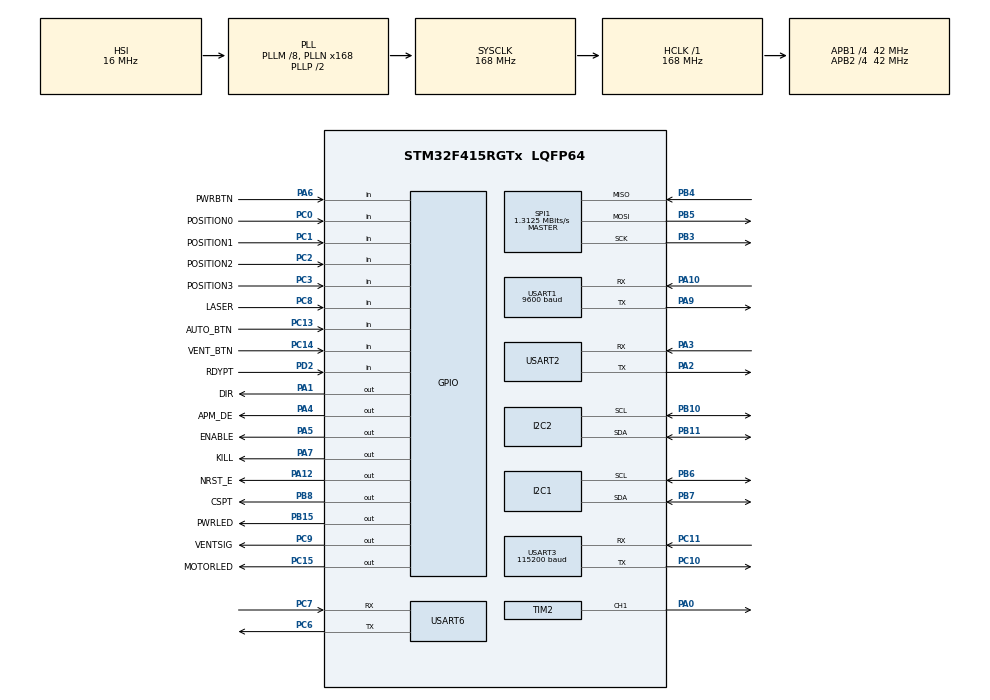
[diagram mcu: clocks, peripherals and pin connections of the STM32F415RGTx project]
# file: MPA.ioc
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ADC1.Channel-0\#ChannelRegularConversion=ADC_CHANNEL_TEMPSENSOR
ADC1.ContinuousConvMode=ENABLE
ADC1.DMAContinuousRequests=DISABLE
ADC1.EOCSelection=ADC_EOC_SEQ_CONV
ADC1.NbrOfConversion=1
ADC1.NbrOfConversionFlag=1
ADC1.Rank-0\#ChannelRegularConversion=1
ADC1.SamplingTime-0\#ChannelRegularConversion=ADC_SAMPLETIME_480CYCLES
ADC1.ScanConvMode=ENABLE
ADC1.master=1
I2C1.I2C_Mode=I2C_Fast
Mcu.Family=STM32F4
Mcu.Name=STM32F415RGTx
Mcu.Package=LQFP64
NVIC.ADC_IRQn=true\:0\:0\:false\:false\:true\:true\:true
NVIC.I2C2_EV_IRQn=true\:0\:0\:false\:false\:true\:true\:true
NVIC.PriorityGroup=NVIC_PRIORITYGROUP_4
NVIC.USART1_IRQn=true\:0\:0\:false\:false\:true\:true\:true
NVIC.USART3_IRQn=true\:0\:0\:false\:false\:true\:true\:true
PA0-WKUP.Signal=S_TIM2_CH1_ETR
PA1.GPIO_Label=DIR
PA1.Signal=GPIO_Output
PA10.Mode=Asynchronous
PA10.Signal=USART1_RX
PA12.GPIO_Label=NRST_E
PA12.Signal=GPIO_Output
PA13.Mode=Serial_Wire
PA13.Signal=SYS_JTMS-SWDIO
PA14.Mode=Serial_Wire
PA14.Signal=SYS_JTCK-SWCLK
PA2.Mode=Asynchronous
PA2.Signal=USART2_TX
PA3.Mode=Asynchronous
PA3.Signal=USART2_RX
PA4.GPIO_Label=APM_DE
PA4.Signal=GPIO_Output
PA5.GPIO_Label=ENABLE
PA5.Signal=GPIO_Output
PA6.GPIO_Label=PWRBTN
PA6.GPIO_PuPd=GPIO_PULLUP
PA6.Signal=GPIO_Input
PA7.GPIO_Label=KILL
PA7.Signal=GPIO_Output
PA9.Mode=Asynchronous
PA9.Signal=USART1_TX
PB10.Mode=I2C
PB10.Signal=I2C2_SCL
PB11.Mode=I2C
PB11.Signal=I2C2_SDA
PB15.GPIO_Label=PWRLED
PB15.Signal=GPIO_Output
PB3.Mode=Full_Duplex_Master
PB3.Signal=SPI1_SCK
PB4.Mode=Full_Duplex_Master
PB4.Signal=SPI1_MISO
PB5.Mode=Full_Duplex_Master
PB5.Signal=SPI1_MOSI
PB6.Mode=I2C
PB6.Signal=I2C1_SCL
PB7.Mode=I2C
PB7.Signal=I2C1_SDA
PB8.GPIO_Label=CSPT
PB8.Signal=GPIO_Output
PC0.GPIO_Label=POSITION0
PC0.Signal=GPIO_Input
PC1.GPIO_Label=POSITION1
PC1.Signal=GPIO_Input
PC10.Mode=Asynchronous
PC10.Signal=USART3_TX
PC11.Mode=Asynchronous
PC11.Signal=USART3_RX
PC13-ANTI_TAMP.GPIO_Label=AUTO_BTN
PC13-ANTI_TAMP.Signal=GPIO_Input
PC14-OSC32_IN.GPIO_Label=VENT_BTN
PC14-OSC32_IN.Signal=GPIO_Input
PC15-OSC32_OUT.GPIO_Label=MOTORLED
PC15-OSC32_OUT.Signal=GPIO_Output
PC2.GPIO_Label=POSITION2
PC2.Signal=GPIO_Input
PC3.GPIO_Label=POSITION3
PC3.Signal=GPIO_Input
PC6.Mode=Asynchronous
PC6.Signal=USART6_TX
PC7.Mode=Asynchronous
PC7.Signal=USART6_RX
PC8.GPIO_Label=LASER
PC8.Signal=GPIO_Input
PC9.GPIO_Label=VENTSIG
PC9.PinState=GPIO_PIN_SET
PC9.Signal=GPIO_Output
PD2.GPIO_Label=RDYPT
PD2.Signal=GPIO_Input
ProjectManager.HeapSize=0x200
ProjectManager.StackSize=0x400
ProjectManager.TargetToolchain=MDK-ARM V5.32
RCC.48MHZClocksFreq_Value=48000000
RCC.AHBFreq_Value=168000000
RCC.APB1CLKDivider=RCC_HCLK_DIV4
RCC.APB1Freq_Value=42000000
RCC.APB1TimFreq_Value=84000000
RCC.APB2CLKDivider=RCC_HCLK_DIV4
RCC.APB2Freq_Value=42000000
RCC.APB2TimFreq_Value=84000000
RCC.CortexFreq_Value=168000000
RCC.HCLKFreq_Value=168000000
RCC.HSE_VALUE=8000000
RCC.HSI_VALUE=16000000
RCC.LSE_VALUE=32768
RCC.PLLM=8
RCC.PLLN=168
RCC.PLLQ=7
RCC.SYSCLKFreq_VALUE=168000000
RCC.SYSCLKSource=RCC_SYSCLKSOURCE_PLLCLK
RCC.VCOOutputFreq_Value=336000000
SH.S_TIM2_CH1_ETR.0=TIM2_CH1,Output Compare1 CH1
SPI1.BaudRatePrescaler=SPI_BAUDRATEPRESCALER_32
SPI1.CLKPhase=SPI_PHASE_2EDGE
SPI1.CalculateBaudRate=1.3125 MBits/s
SPI1.Direction=SPI_DIRECTION_2LINES
SPI1.Mode=SPI_MODE_MASTER
SPI1.VirtualType=VM_MASTER
TIM2.AutoReloadPreload=TIM_AUTORELOAD_PRELOAD_ENABLE
TIM2.Channel-Output\ Compare1\ CH1=TIM_CHANNEL_1
TIM2.OC1Preload=ENABLE
TIM2.OCMode_1=TIM_OCMODE_TOGGLE
TIM2.Period=2072026
USART1.BaudRate=9600
USART1.VirtualMode=VM_ASYNC
USART2.VirtualMode=VM_ASYNC
USART3.BaudRate=115200
USART3.VirtualMode=VM_ASYNC
USART6.VirtualMode=VM_ASYNC
VP_ADC1_TempSens_Input.Mode=IN-TempSens
board=custom

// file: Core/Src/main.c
/* USER CODE BEGIN Header */
/**
  ******************************************************************************
  * @file           : main.c
  * @brief          : Main program body
  ******************************************************************************
  * @attention
  *
  * Copyright (c) 2026 STMicroelectronics.
  * All rights reserved.
  *
  * This software is licensed under terms that can be found in the LICENSE file
  * in the root directory of this software component.
  * If no LICENSE file comes with this software, it is provided AS-IS.
  *
  ******************************************************************************
  */
/* USER CODE END Header */
#include "main.h"
#include "adc.h"
#include "i2c.h"
#include "spi.h"
#include "tim.h"
#include "usart.h"
#include "gpio.h"

/* USER CODE BEGIN Includes */
#include "stdint.h"
#include "string.h"
#include "ads1220.h"
#include "math.h"
/* USER CODE END Includes */

/* USER CODE BEGIN PTD */
#define PASCAL_SIZE 500
#define DEFAULT_VAC 13.6515045f
typedef enum
{
    unit_mbar = 0,
    unit_Torr = 1,
    unit_Pa = 2
}unit_t;

typedef struct
{
    uint8_t OK;
    uint8_t Status;
    uint8_t Ready;
    float Pressure;
    float PascalPressure;
    float PascalPressureFiltered;
    uint16_t Raw;
    float FactorA;
    float FactorB;
    float FSR_Mantissa;
    float FSR_Exp;
    unit_t Unit;
    uint64_t TimeStamp;
    float Pascals[PASCAL_SIZE];
    float PascalSum;
    uint16_t PascalIdx;
    uint32_t Errors;
}inficon_t;
/* USER CODE END PTD */

/* USER CODE BEGIN PD */
#define FWREV 1.01f

#define INFICON_UART huart1
#define PC_UART huart3
#define I2C420 hi2c2
#define LASER_UART huart6

#define LED_ON 30
#define LED_TICK 300

#define SOF 0x3B
#define PC_RX_BUF_SIZE 256
#define COMMAND_LENGTH 14

#define RPM_MIN 20
#define RPM_MAX 80

#define PROBE_420 100.0f
#define REF_420 2.048f
#define INTERVAL_420 150

/* USER CODE END PD */

/* USER CODE BEGIN PV */
volatile uint64_t uptime = 0;
uint64_t LedNextUpdate = 500;
uint64_t MotorNextProcess = 1000;
uint64_t Next420Check = 500;

int16_t StatusRegister = 1;

uint8_t LedState = 0; //0 - blinking OFF, 1 - blinking ON, 2 - constant ON

uint8_t PowerOffAllowed = 0;

uint8_t PC_RX_BUF[PC_RX_BUF_SIZE];
uint8_t command_buf[COMMAND_LENGTH]; //for parser
int8_t PC_RX_flag = 0;
uint64_t LastPacketReceived;
uint32_t PC_TimeOut = 10;
uint32_t ErrCounter = 0;

//inficon
uint8_t INFICONRXBUF[50];
volatile uint8_t InficonRX = 0;
inficon_t I;
uint64_t InficonLastGoodPacket = 0;

//4-20
uint8_t DataReady420 = 0;
float I420 = 0;
uint8_t ADS1110addr = 0x48;
uint8_t ADS1110buffer[2];
uint8_t Status420 = 0;
uint64_t ADS1110LastGoodPacket = 0;

//motor
uint8_t RunButtonState = 2;
uint64_t LastRunButtonStateChanged;
uint8_t ButtonStateChanged = 0;
int8_t DefaultSpeedSetPoint = 30; //rpm, default 30
int8_t SpeedSetPoint = 0;
int8_t NewSpeedSetPoint = 0;
uint8_t DefaultAccTime = 10; //default 10
uint8_t AccTime = 10;
float RawCurrentSpeed = 0;
float PerMillisecond = 0;

//vent
uint16_t Venting = 0;
uint64_t VentNextSecond;
uint8_t VentBtn;
//inputs
uint8_t Input1, Input2, Input3, Input4;

//pt1000
ADC_ADS1220 hadc;
uint64_t Delay;
uint8_t RDYPin = 1, PrevRDYPin = 1;
float Pt1000Temp;

/* USER CODE END PV */

void SystemClock_Config(void);
/* USER CODE BEGIN PFP */
uint64_t GetUpTime(void);
void ParseInficon(uint8_t*, inficon_t*, uint8_t full);
void CommandExecute(void);
/* USER CODE END PFP */

int main(void)
{

  /* MCU Configuration--------------------------------------------------------*/

  /* Reset of all peripherals, Initializes the Flash interface and the Systick. */
  HAL_Init();

  /* Configure the system clock */
  SystemClock_Config();

  /* Initialize all configured peripherals */
  MX_GPIO_Init();
  MX_TIM2_Init();
  MX_USART3_UART_Init();
  MX_I2C1_Init();
  MX_ADC1_Init();
  MX_I2C2_Init();
  MX_SPI1_Init();
  MX_USART1_UART_Init();
  MX_USART6_UART_Init();
  MX_USART2_UART_Init();

  /* Infinite loop */
  /* USER CODE BEGIN WHILE */

  I.OK = 0;
  I.TimeStamp = 0;
  I.PascalSum = DEFAULT_VAC * PASCAL_SIZE;
  for(uint16_t i = 0; i < PASCAL_SIZE; i++)
  {
      I.Pascals[i] = DEFAULT_VAC;
  }
  I.PascalIdx = 0;
  I.Errors = 0;
  HAL_UARTEx_ReceiveToIdle_IT(&INFICON_UART, INFICONRXBUF, sizeof INFICONRXBUF);

  HAL_GPIO_WritePin(DIR_GPIO_Port, DIR_Pin, GPIO_PIN_RESET);
  HAL_GPIO_WritePin(ENABLE_GPIO_Port, ENABLE_Pin, GPIO_PIN_SET);
  HAL_TIM_OC_Start(&htim2, TIM_CHANNEL_1);

//
    hadc.InterfaceHandle = &hspi1;
    hadc.CSPort = CSPT_GPIO_Port;
    hadc.CSPin = CSPT_Pin;
    hadc.RDYPort = RDYPT_GPIO_Port;
    hadc.RDYPin = RDYPT_Pin;
    hadc.NextCalibration = 2000;
    hadc.ADC_STATE = stADCDisable;

  while (1)
  {
      if(Venting)
      {
          HAL_GPIO_WritePin(VENTSIG_GPIO_Port, VENTSIG_Pin, GPIO_PIN_RESET);
          if(GetUpTime() >= VentNextSecond)
          {
              VentNextSecond = GetUpTime() + 1000;
              Venting--;
          }
      }else{
          HAL_GPIO_WritePin(VENTSIG_GPIO_Port, VENTSIG_Pin, GPIO_PIN_SET);
      }

// MOTOR
      uint8_t NewRunButtonState = HAL_GPIO_ReadPin(AUTO_BTN_GPIO_Port, AUTO_BTN_Pin);
      if(NewRunButtonState != RunButtonState)
      {
          LastRunButtonStateChanged = GetUpTime();
          ButtonStateChanged = 1;
      }else{
          if(GetUpTime() > LastRunButtonStateChanged + 200)
          {
              if(ButtonStateChanged)
              {
                  ButtonStateChanged = 0;
                  if(RunButtonState)
                  {
                      NewSpeedSetPoint = DefaultSpeedSetPoint;
                      AccTime = DefaultAccTime;
                  }else{
                  }
              }
          }
      }
      RunButtonState = NewRunButtonState;
      if(GetUpTime() >= MotorNextProcess)
      {
          MotorNextProcess += 4;

          if(NewSpeedSetPoint != SpeedSetPoint)
          {
              SpeedSetPoint = NewSpeedSetPoint;
              PerMillisecond = 4.0f * (SpeedSetPoint - RawCurrentSpeed) / (AccTime * 1000);
          }

          RawCurrentSpeed += PerMillisecond;
          if(PerMillisecond > 0)
          {
              if(RawCurrentSpeed > SpeedSetPoint)
              {
                  RawCurrentSpeed = SpeedSetPoint;
                  PerMillisecond = 0;
              }
          }else{
              if(RawCurrentSpeed < SpeedSetPoint)
              {
                  RawCurrentSpeed = SpeedSetPoint;
                  PerMillisecond = 0;
              }
          }
          if(fabsf(RawCurrentSpeed) < 0.2f)
          {
              HAL_GPIO_WritePin(ENABLE_GPIO_Port, ENABLE_Pin, GPIO_PIN_SET);
          }else{
              HAL_GPIO_WritePin(ENABLE_GPIO_Port, ENABLE_Pin, GPIO_PIN_RESET);
          }
          uint32_t arr = 84000000. * 60 / (2 * fabsf(RawCurrentSpeed)  * 6400 * 1.9f) - 1;
          if(arr > 2072026)
          {
              arr = 2072026;
          }
          __HAL_TIM_SET_AUTORELOAD(&htim2, arr);
      }

      if((SpeedSetPoint != 0) && (fabsf(RawCurrentSpeed - SpeedSetPoint) < 1))
      {
          HAL_GPIO_WritePin(MOTORLED_GPIO_Port, MOTORLED_Pin, GPIO_PIN_SET);
      }else{
          HAL_GPIO_WritePin(MOTORLED_GPIO_Port, MOTORLED_Pin, GPIO_PIN_RESET);
      }
// end MOTOR

      if(HAL_GPIO_ReadPin(POSITION0_GPIO_Port, POSITION0_Pin))
      {
          Input1 = 0;
      }else{
          Input1 = 1;
      }
      if(HAL_GPIO_ReadPin(POSITION1_GPIO_Port, POSITION1_Pin))
      {
          Input2 = 0;
      }else{
          Input2 = 1;
      }
      if(HAL_GPIO_ReadPin(POSITION2_GPIO_Port, POSITION2_Pin))
      {
          Input3 = 0;
      }else{
          Input3 = 1;
      }
      if(HAL_GPIO_ReadPin(POSITION3_GPIO_Port, POSITION3_Pin))
      {
          Input4 = 0;
      }else{
          Input4 = 1;
      }

      if(!HAL_GPIO_ReadPin(PWRBTN_GPIO_Port, PWRBTN_Pin))
      {
          StatusRegister |= 0x02;
      }
      if(HAL_GPIO_ReadPin(VENT_BTN_GPIO_Port, VENT_BTN_Pin))
      {
          StatusRegister |= 0x04;
      }
      if(RunButtonState)
      {
          StatusRegister |= 0x08;
      }else{
          StatusRegister &= ~0x08;
      }
    /* USER CODE END WHILE */

    /* USER CODE BEGIN 3 */

      if(GetUpTime() >= Next420Check)
      {
          if(GetUpTime() >= ADS1110LastGoodPacket + 2000)
          {
              Status420 = 0;
              Next420Check = GetUpTime() + 1000;
              uint8_t GeneralCallAddress = 0;
              uint8_t ResetCmd = 0x06;
              HAL_I2C_Master_Transmit(&hi2c1, GeneralCallAddress, &ResetCmd, 1, 20);
          }else{
              Next420Check = GetUpTime() + INTERVAL_420;
              HAL_I2C_Master_Receive_IT(&hi2c2, ADS1110addr << 1, ADS1110buffer, 2);
          }
      }
      if(DataReady420)
      {
          DataReady420 = 0;
          Status420 = 1;
          int16_t raw_value = (int16_t)((ADS1110buffer[0] << 8) | ADS1110buffer[1]);
          int16_t fs = 0x7fff;
          float volt = (REF_420 / fs) * raw_value;
          I420 = 1000 * volt / PROBE_420; //mA
          ADS1110LastGoodPacket = GetUpTime();
      }

      if((InficonRX == 9) && (INFICONRXBUF[0] == 7))
      {
          InficonRX = 0;
          uint8_t CheckSum = 0;
          for(uint8_t i = 1; i <= 7; i++)
          {
              CheckSum += INFICONRXBUF[i];
          }
          if(CheckSum == INFICONRXBUF[8])
          {
              I.OK = 1;
              I.TimeStamp = GetUpTime();
              ParseInficon(INFICONRXBUF, &I, 1);
          }else{
              I.Errors++;
          }
      }else{
          InficonRX = 0;
          if((I.Errors > 500) || (GetUpTime() > I.TimeStamp + 2000))
          {
              I.OK = 0;
          }
      }

      if(GetUpTime() >= LedNextUpdate)
      {
          LedNextUpdate += LED_TICK;

          switch(LedState)
          {
              case 0: //blinking, OFF
              {
                  HAL_GPIO_WritePin(PWRLED_GPIO_Port, PWRLED_Pin, GPIO_PIN_SET);
                  LedState = 1;
                  break;
              }
              case 1: //blinking, ON
              {
                  HAL_GPIO_WritePin(PWRLED_GPIO_Port, PWRLED_Pin, GPIO_PIN_RESET);
                  LedState = 0;
                  break;
              }
              case 2: //set constant ON
              {
                  HAL_GPIO_WritePin(PWRLED_GPIO_Port, PWRLED_Pin, GPIO_PIN_SET);
                  LedState = 3;
                  break;
              }
              case 3: // constant ON
              {
                  break;
              }
          }
      }

      if(PC_TimeOut > 10)
      {
          if(LedState == 3)
          {
              LedState = 0;
          }
      }

      uint64_t tempTick = GetUpTime();
      if(PC_RX_flag)
      {
          if((PC_RX_flag == COMMAND_LENGTH) && (PC_RX_BUF[0] == SOF))
          {
              LastPacketReceived = tempTick;
              PC_TimeOut = 0;
              LedState = 2;

              for(uint8_t i = 0; i < PC_RX_flag; i++)
              {
                  command_buf[i] = PC_RX_BUF[i];
              }
              CommandExecute();
          }else{
              ErrCounter++;
          }
          HAL_UART_AbortReceive_IT(&PC_UART);
          while(HAL_UARTEx_ReceiveToIdle_IT(&PC_UART, PC_RX_BUF, PC_RX_BUF_SIZE) != HAL_OK);
          __HAL_UART_DISABLE_IT(&PC_UART, UART_IT_ERR);
          PC_RX_flag = 0;
      }else{
          if(tempTick > LastPacketReceived + 200)
          {
              LastPacketReceived = tempTick;
              PC_TimeOut ++;
              HAL_UART_AbortReceive_IT(&PC_UART);
              while(HAL_UARTEx_ReceiveToIdle_IT(&PC_UART, PC_RX_BUF, PC_RX_BUF_SIZE) != HAL_OK);
              __HAL_UART_DISABLE_IT(&PC_UART, UART_IT_ERR);

              if(PowerOffAllowed)
              {
                  if(PC_TimeOut > 100)
                  {
                      HAL_GPIO_WritePin(KILL_GPIO_Port, KILL_Pin, GPIO_PIN_SET);
                  }
              }
          }
      }

      switch(hadc.ADC_STATE)
      {
          case stADCDisable:
          {

              hadc.TXbuf[0] = ADS1220_CMD_RESET;
              HAL_GPIO_WritePin(hadc.CSPort, hadc.CSPin, GPIO_PIN_RESET);
              while(HAL_SPI_Transmit(hadc.InterfaceHandle, hadc.TXbuf, 1, 2) == HAL_BUSY);
              HAL_GPIO_WritePin(hadc.CSPort, hadc.CSPin, GPIO_PIN_SET);
              Delay = GetUpTime() + 2;
              hadc.ADC_STATE = stADCResetting;
              break;
          }
          case stADCResetting:
          {
              if(GetUpTime() >= Delay)
              {
                  hadc.REGISTERS[0] = 0x00;
                  hadc.REGISTERS[1] = 0x00;
                  hadc.REGISTERS[2] = 0x00; // По даташиту дефолт 0x00 (ток выкл)
                  hadc.REGISTERS[3] = 0x00; // По даташиту дефолт 0x00 (выводы выкл)
                  hadc.ADC_STATE = stADCMainConfig;
                  //hadc[adc].NextTemperatureCheck = GetUpTime()+ ADC_INTERNAL_TEMP_CHECK_INTERVAL;
                  hadc.NewDataAvailable = 0;
              }
              break;
          }
            case stADCMainConfig: // Настройка глобальных параметров (Регистры 1, 2, 3)
            {
                // 1. Скорость 20 SPS и режим Normal (вместо Turbo, чтобы работал FIR фильтр помех)
                hadc.REGISTERS[ADS1220_DR_REG_I] &= ~ADS1220_DR_MASK;
                hadc.REGISTERS[ADS1220_DR_REG_I] |= ADS1220_DR_20; // data rate 20 SPS
                hadc.REGISTERS[ADS1220_MODE_REG_I] &= ~ADS1220_MODE_MASK;
                hadc.REGISTERS[ADS1220_MODE_REG_I] |= ADS1220_MODE_NORM; // Режим Normal

                hadc.TXbuf[0] = ADS1220_CMD_WREG | ADS1220_DR_REG;
                hadc.TXbuf[1] = hadc.REGISTERS[ADS1220_DR_REG_I];
                HAL_GPIO_WritePin(hadc.CSPort, hadc.CSPin, GPIO_PIN_RESET);
                while(HAL_SPI_Transmit(hadc.InterfaceHandle, hadc.TXbuf, 2, 2) == HAL_BUSY);
                HAL_GPIO_WritePin(hadc.CSPort, hadc.CSPin, GPIO_PIN_SET);

                // 2. Режим непрерывного преобразования
                hadc.REGISTERS[ADS1220_CM_REG_I] &= ~ADS1220_CM_MASK;
                hadc.REGISTERS[ADS1220_CM_REG_I] |= ADS1220_CM_CONT; // continuous mode
                hadc.TXbuf[0] = ADS1220_CMD_WREG | ADS1220_CM_REG;
                hadc.TXbuf[1] = hadc.REGISTERS[ADS1220_CM_REG_I];
                HAL_GPIO_WritePin(hadc.CSPort, hadc.CSPin, GPIO_PIN_RESET);
                while(HAL_SPI_Transmit(hadc.InterfaceHandle, hadc.TXbuf, 2, 2) == HAL_BUSY);
                HAL_GPIO_WritePin(hadc.CSPort, hadc.CSPin, GPIO_PIN_SET);

                // 3. Включение источника тока 250 мкА и фильтра сети 50/60 Гц (Регистр 2)
                hadc.REGISTERS[ADS1220_IDAC_REG_I] &= ~ADS1220_IDAC_MASK;
                hadc.REGISTERS[ADS1220_IDAC_REG_I] |= ADS1220_IDAC_250; // Ток 250 мкА
                hadc.REGISTERS[ADS1220_FIR_REG_I] &= ~ADS1220_FIR_MASK;
                hadc.REGISTERS[ADS1220_FIR_REG_I] |= ADS1220_FIR_5060; // Фильтр 50/60 Гц

                hadc.TXbuf[0] = ADS1220_CMD_WREG | ADS1220_IDAC_REG;
                hadc.TXbuf[1] = hadc.REGISTERS[ADS1220_IDAC_REG_I];
                HAL_GPIO_WritePin(hadc.CSPort, hadc.CSPin, GPIO_PIN_RESET);
                while(HAL_SPI_Transmit(hadc.InterfaceHandle, hadc.TXbuf, 2, 2) == HAL_BUSY);
                HAL_GPIO_WritePin(hadc.CSPort, hadc.CSPin, GPIO_PIN_SET);

                // 4. Коммутация тока IDAC1 на ножку AIN3 (Регистр 3)
                hadc.REGISTERS[ADS1220_IDAC1_REG_I] &= ~ADS1220_IDAC1_MASK;
                hadc.REGISTERS[ADS1220_IDAC1_REG_I] |= ADS1220_IDAC1_AIN3; // Ток летит в AIN3
                hadc.REGISTERS[ADS1220_IDAC2_REG_I] &= ~ADS1220_IDAC2_MASK;
                hadc.REGISTERS[ADS1220_IDAC2_REG_I] |= ADS1220_IDAC2_OFF;  // Второй источник отключен

                hadc.TXbuf[0] = ADS1220_CMD_WREG | ADS1220_IDAC1_REG;
                hadc.TXbuf[1] = hadc.REGISTERS[ADS1220_IDAC1_REG_I];
                HAL_GPIO_WritePin(hadc.CSPort, hadc.CSPin, GPIO_PIN_RESET);
                while(HAL_SPI_Transmit(hadc.InterfaceHandle, hadc.TXbuf, 2, 2) == HAL_BUSY);
                HAL_GPIO_WritePin(hadc.CSPort, hadc.CSPin, GPIO_PIN_SET);

                hadc.ADC_STATE = stADCConfigureForCH0;
                break;
            }
            case stADCConfigureForCH0: // Настройка измерительного канала (Регистр 0)
            {
                // 1. Усиление (Gain = 4 для комнатных температур)
                hadc.REGISTERS[ADS1220_GAIN_REG_I] &= ~ADS1220_GAIN_MASK;
                hadc.REGISTERS[ADS1220_GAIN_REG_I] |= ADS1220_GAIN_4; // gain = 4
                hadc.TXbuf[0] = ADS1220_CMD_WREG | ADS1220_GAIN_REG;
                hadc.TXbuf[1] = hadc.REGISTERS[ADS1220_GAIN_REG_I];
                HAL_GPIO_WritePin(hadc.CSPort, hadc.CSPin, GPIO_PIN_RESET);
                while(HAL_SPI_Transmit(hadc.InterfaceHandle, hadc.TXbuf, 2, 2) == HAL_BUSY);
                HAL_GPIO_WritePin(hadc.CSPort, hadc.CSPin, GPIO_PIN_SET);

                // 2. Выбор внешней опоры REFP0/REFN0
                hadc.REGISTERS[ADS1220_VREF_REG_I] &= ~ADS1220_VREF_MASK;
                hadc.REGISTERS[ADS1220_VREF_REG_I] |= ADS1220_VREF_REF0; // reference VREF 0
                hadc.TXbuf[0] = ADS1220_CMD_WREG | ADS1220_VREF_REG;
                hadc.TXbuf[1] = hadc.REGISTERS[ADS1220_VREF_REG_I];
                HAL_GPIO_WritePin(hadc.CSPort, hadc.CSPin, GPIO_PIN_RESET);
                while(HAL_SPI_Transmit(hadc.InterfaceHandle, hadc.TXbuf, 2, 2) == HAL_BUSY);
                HAL_GPIO_WritePin(hadc.CSPort, hadc.CSPin, GPIO_PIN_SET);

                // 3. Выбор измерительных входов AIN0 (+) и AIN1 (-)
                hadc.REGISTERS[ADS1220_MUX_REG_I] &= ~ADS1220_MUX_MASK;
                hadc.REGISTERS[ADS1220_MUX_REG_I] |= ADS1220_MUX_01; // AIN0+AIN1
                hadc.TXbuf[0] = ADS1220_CMD_WREG | ADS1220_MUX_REG;
                hadc.TXbuf[1] = hadc.REGISTERS[ADS1220_MUX_REG_I];
                HAL_GPIO_WritePin(hadc.CSPort, hadc.CSPin, GPIO_PIN_RESET);
                while(HAL_SPI_Transmit(hadc.InterfaceHandle, hadc.TXbuf, 2, 2) == HAL_BUSY);
                HAL_GPIO_WritePin(hadc.CSPort, hadc.CSPin, GPIO_PIN_SET);

                // 4. Запуск преобразований (Команда START)
                hadc.TXbuf[0] = ADS1220_CMD_START;
                HAL_GPIO_WritePin(hadc.CSPort, hadc.CSPin, GPIO_PIN_RESET);
                while(HAL_SPI_Transmit(hadc.InterfaceHandle, hadc.TXbuf, 1, 2) == HAL_BUSY);
                HAL_GPIO_WritePin(hadc.CSPort, hadc.CSPin, GPIO_PIN_SET);

                hadc.ADC_STATE = stADC_CH0;
                break;
            }
          case stADCConfigureForCalibration:
          {
              /*
              hadc.REGISTERS[ADS1220_TS_REG_I] &= ~ADS1220_TS_MASK;
              hadc.REGISTERS[ADS1220_TS_REG_I] |= ADS1220_TS_OFF;    //TS OFF
              hadc.TXbuf[0] = ADS1220_CMD_WREG | ADS1220_TS_REG;
              hadc.TXbuf[1] = hadc.REGISTERS[ADS1220_TS_REG_I];
              HAL_GPIO_WritePin(hadc.CSPort, hadc.CSPin, GPIO_PIN_RESET);
              while(HAL_SPI_Transmit(hadc.InterfaceHandle, hadc.TXbuf, 2, 2) == HAL_BUSY);
              HAL_GPIO_WritePin(hadc.CSPort, hadc.CSPin, GPIO_PIN_SET);
              */

              hadc.REGISTERS[ADS1220_MUX_REG_I] &= ~ADS1220_MUX_MASK;
              hadc.REGISTERS[ADS1220_MUX_REG_I] |= ADS1220_MUX_ZCAL;
              hadc.TXbuf[0] = ADS1220_CMD_WREG | ADS1220_MUX_REG;
              hadc.TXbuf[1] = hadc.REGISTERS[ADS1220_MUX_REG_I];    //zero calibration
              HAL_GPIO_WritePin(hadc.CSPort, hadc.CSPin, GPIO_PIN_RESET);
              while(HAL_SPI_Transmit(hadc.InterfaceHandle, hadc.TXbuf, 2, 2) == HAL_BUSY);
              HAL_GPIO_WritePin(hadc.CSPort, hadc.CSPin, GPIO_PIN_SET);

              hadc.CalibSum = 0;
              hadc.CalibCounter = 0;

              hadc.TXbuf[0] = ADS1220_CMD_START;
              HAL_GPIO_WritePin(hadc.CSPort, hadc.CSPin, GPIO_PIN_RESET);
              while(HAL_SPI_Transmit(hadc.InterfaceHandle, hadc.TXbuf, 1, 2) == HAL_BUSY);
              HAL_GPIO_WritePin(hadc.CSPort, hadc.CSPin, GPIO_PIN_SET);

              hadc.ADC_STATE = stADCCalibration;
              break;
          }

          case stADCCalibration:
          {
              PrevRDYPin = RDYPin;
              RDYPin = HAL_GPIO_ReadPin(hadc.RDYPort, hadc.RDYPin);
              if((!RDYPin)&&(PrevRDYPin))
              {
                  hadc.TXbuf[0] = ADS1220_DUMMY;
                  hadc.TXbuf[1] = ADS1220_DUMMY;
                  hadc.TXbuf[2] = ADS1220_DUMMY;
                  hadc.NewDataAvailable = 0;
                  HAL_GPIO_WritePin(hadc.CSPort, hadc.CSPin, GPIO_PIN_RESET);
                  while(HAL_SPI_TransmitReceive(hadc.InterfaceHandle, hadc.TXbuf, hadc.RXbuf, 3, 2) == HAL_BUSY);
                  HAL_GPIO_WritePin(hadc.CSPort, hadc.CSPin, GPIO_PIN_SET);
              //}

              //if(hadc[adc].NewDataAvailable)
              //{
                  //hadc[adc].NewDataAvailable = 0;
                  hadc.LastUpdate = GetUpTime();
                  uint32_t tempval = (hadc.RXbuf[0] << 16) + (hadc.RXbuf[1] << 8) + hadc.RXbuf[2];
                  if(tempval & 0x00800000)
                  {
                      tempval |= 0xFF000000;
                  }
                  hadc.CalibSum += *(int32_t*)&tempval;
                  hadc.CalibCounter++;
                  if(hadc.CalibCounter >= 8)
                  {
                      hadc.Offset = hadc.CalibSum / 8; // average
                      hadc.ADC_STATE = stADCConfigureForCH0;
                  }
              }
              break;
          }
          case stADC_CH0: //measuring main
          {
              PrevRDYPin = RDYPin;
              RDYPin = HAL_GPIO_ReadPin(hadc.RDYPort, hadc.RDYPin);
              if((!RDYPin)&&(PrevRDYPin))
              {
                  hadc.TXbuf[0] = ADS1220_DUMMY;
                  hadc.TXbuf[1] = ADS1220_DUMMY;
                  hadc.TXbuf[2] = ADS1220_DUMMY;
                  hadc.NewDataAvailable = 0;
                  HAL_GPIO_WritePin(hadc.CSPort, hadc.CSPin, GPIO_PIN_RESET);
                  //while(HAL_SPI_TransmitReceive_DMA(hadc[adc].InterfaceHandle, hadc[adc].TXbuf, hadc[adc].DMAbuf, 3) == HAL_BUSY);
                  while(HAL_SPI_TransmitReceive(hadc.InterfaceHandle, hadc.TXbuf, hadc.RXbuf, 3, 2) == HAL_BUSY);
                  HAL_GPIO_WritePin(hadc.CSPort, hadc.CSPin, GPIO_PIN_SET);
              //}

              //if(hadc[adc].NewDataAvailable)
              //{
                  //hadc[adc].NewDataAvailable = 0;
                  hadc.LastUpdate = GetUpTime();
                  uint32_t tempval = (hadc.RXbuf[0] << 16) + (hadc.RXbuf[1] << 8) + hadc.RXbuf[2];
                  if(tempval & 0x00800000)
                  {
                      tempval |= 0xFF000000;
                  }

                  int32_t tempsigned =  *(int32_t*)&tempval - hadc.Offset;

                  hadc.Ch0 = tempsigned;

                  float R_pt1000 = (-(int64_t)hadc.Ch0 * 10000) / 33554432.0f;

                // --- ТОЧНЫЙ РАСЧЕТ ТЕМПЕРАТУРЫ (МТШ-90 / Каллендар-Ван Дузен) ---
                // Константы для стандартной платины Pt1000 выше 0°C
                const float A = 3.9083e-3f;
                const float B = -5.775e-7f;

                // Раскрытое и упрощенное подкоренное выражение, чтобы МК не делал лишней работы:
                // под корнем получается: A^2 - 4*B + (4*B / 1000) * R
                float sqrt_val = 1.7584808e-5f - (2.310e-9f * R_pt1000);

                // Итоговая температура в градусах Цельсия
                float Temperature = (-A + sqrtf(sqrt_val)) / (2.0f * B);

                // Записываем результат в вашу переменную
                Pt1000Temp = Temperature;

                  if(hadc.LastUpdate >= hadc.NextCalibration)
                  {
                      hadc.NextCalibration += 20000;
                      hadc.ADC_STATE = stADCConfigureForCalibration;
                  }
              }
              break;
          }
      }

  }
  /* USER CODE END 3 */
}

void SystemClock_Config(void)
{
  RCC_OscInitTypeDef RCC_OscInitStruct = {0};
  RCC_ClkInitTypeDef RCC_ClkInitStruct = {0};

  /** Configure the main internal regulator output voltage
  */
  __HAL_RCC_PWR_CLK_ENABLE();
  __HAL_PWR_VOLTAGESCALING_CONFIG(PWR_REGULATOR_VOLTAGE_SCALE1);
  /** Initializes the RCC Oscillators according to the specified parameters
  * in the RCC_OscInitTypeDef structure.
  */
  RCC_OscInitStruct.OscillatorType = RCC_OSCILLATORTYPE_HSI;
  RCC_OscInitStruct.HSIState = RCC_HSI_ON;
  RCC_OscInitStruct.HSICalibrationValue = RCC_HSICALIBRATION_DEFAULT;
  RCC_OscInitStruct.PLL.PLLState = RCC_PLL_ON;
  RCC_OscInitStruct.PLL.PLLSource = RCC_PLLSOURCE_HSI;
  RCC_OscInitStruct.PLL.PLLM = 8;
  RCC_OscInitStruct.PLL.PLLN = 168;
  RCC_OscInitStruct.PLL.PLLP = RCC_PLLP_DIV2;
  RCC_OscInitStruct.PLL.PLLQ = 7;
  if (HAL_RCC_OscConfig(&RCC_OscInitStruct) != HAL_OK)
  {
    Error_Handler();
  }
  /** Initializes the CPU, AHB and APB buses clocks
  */
  RCC_ClkInitStruct.ClockType = RCC_CLOCKTYPE_HCLK|RCC_CLOCKTYPE_SYSCLK
                              |RCC_CLOCKTYPE_PCLK1|RCC_CLOCKTYPE_PCLK2;
  RCC_ClkInitStruct.SYSCLKSource = RCC_SYSCLKSOURCE_PLLCLK;
  RCC_ClkInitStruct.AHBCLKDivider = RCC_SYSCLK_DIV1;
  RCC_ClkInitStruct.APB1CLKDivider = RCC_HCLK_DIV4;
  RCC_ClkInitStruct.APB2CLKDivider = RCC_HCLK_DIV4;

  if (HAL_RCC_ClockConfig(&RCC_ClkInitStruct, FLASH_LATENCY_5) != HAL_OK)
  {
    Error_Handler();
  }
}

/* USER CODE BEGIN 4 */
uint64_t GetUpTime(void)
{
    volatile uint64_t res = uptime;
    while (res != uptime)
    {
        res = uptime;
    }
    return res;
}

void HAL_UARTEx_RxEventCallback(UART_HandleTypeDef *huart, uint16_t Size)
{
    if(huart == &PC_UART)
    {
        PC_RX_flag = Size;
    }
    if(huart == &INFICON_UART)
    {
        HAL_UARTEx_ReceiveToIdle_IT(&INFICON_UART, INFICONRXBUF, sizeof INFICONRXBUF);
        InficonRX = Size;
    }
    if(huart == &LASER_UART)
    {

    }
}

void MemoryWrite(uint16_t memAddr, int32_t fdata)
{
    uint16_t devAddr = (0x50 << 1);
    HAL_StatusTypeDef status;
    HAL_I2C_Mem_Write(&hi2c1, devAddr, memAddr, I2C_MEMADD_SIZE_16BIT, (uint8_t*)&fdata, 4, 4);
    for(;;)
    {
        status = HAL_I2C_IsDeviceReady(&hi2c1, devAddr, 1,  HAL_MAX_DELAY);
        if(status == HAL_OK)
        {
            break;
        }
    }
}

int32_t MemoryRead(uint16_t memAddr)
{
    uint16_t devAddr = (0x50 << 1);
    uint8_t rmsg[4] = {0};
    HAL_I2C_Mem_Read(&hi2c1, devAddr, memAddr, I2C_MEMADD_SIZE_16BIT, (uint8_t*)rmsg, 4, 4);
    int32_t fdata = *(int32_t*)&rmsg;
	return fdata;
}

void ParseInficon(uint8_t* buf, inficon_t* res, uint8_t full)
{
    res->Status = buf[2];
    if(buf[2] & 0x80)
    {
        res->Ready = 1;
    }else{
        res->Ready = 0;
    }
    res->FactorB = 32767;
    if(full)
    {
        if((buf[1] == 2) || (buf[1] == 3))
        {
            switch((buf[2] & 0x30) >> 4)
            {
                case 0:
                {
                    res->Unit = unit_mbar;
                    res->FactorA = 1.3332f;
                    res->FactorB = 24000;
                    break;
                }
                case 1:
                {
                    res->Unit = unit_Torr;
                    res->FactorA = 1;
                    res->FactorB = 32000;
                    break;
                }
                case 2:
                {
                    res->Unit = unit_Pa;
                    res->FactorA = 133.32f;
                    res->FactorB = 24000;
                    break;
                }
                default:
                {
                    res->Unit = unit_mbar;
                    res->FactorA = 1.3332f;
                    res->FactorB = 24000;
                    break;
                }
            }
        }else{
            res->FactorB = 32767;
        }

        switch(buf[7] & 0x0F)
        {
            case 0x0:
            {
                res->FSR_Exp = 0.001f;
                break;
            }
            case 0x1:
            {
                res->FSR_Exp = 0.01f;
                break;
            }
            case 0x2:
            {
                res->FSR_Exp = 0.1f;
                break;
            }
            case 0x3:
            {
                res->FSR_Exp = 1;
                break;
            }
            case 0x4:
            {
                res->FSR_Exp = 10.0f;
                break;
            }
            case 0x5:
            {
                res->FSR_Exp = 100.0f;
                break;
            }
            case 0x6:
            {
                res->FSR_Exp = 1000.0f;
                break;
            }
            case 0x7:
            {
                res->FSR_Exp = 10000.0f;
                break;
            }
        }
        switch(buf[7] & 0xF0)
        {
            case 0x00:
            {
                res->FSR_Mantissa = 1.0f;
                break;
            }
            case 0x10:
            {
                res->FSR_Mantissa = 1.1f;
                break;
            }
            case 0x20:
            {
                res->FSR_Mantissa = 2.0f;
                break;
            }
            case 0x30:
            {
                res->FSR_Mantissa = 2.5f;
                break;
            }
            case 0x40:
            {
                res->FSR_Mantissa = 5.0f;
                break;
            }
        }
    }
    res->Raw = buf[4] * 256 + buf[5];
    res->Pressure = (res->Raw * res->FactorA / res->FactorB) * res->FSR_Mantissa * res->FSR_Exp;
    if(res->Unit == unit_Torr)
    {
        res->PascalPressure = res->Pressure * 133.32f;
    }else{
        if(res->Unit == unit_mbar)
        {
            res->PascalPressure = res->Pressure * 1.3332f;
        }else{
            res->PascalPressure = res->Pressure;
        }
    }
    res->PascalSum -= res->Pascals[res->PascalIdx];
    res->PascalSum += res->PascalPressure;
    res->Pascals[res->PascalIdx] = res->PascalPressure;
    res->PascalIdx++;
    if(res->PascalIdx >= PASCAL_SIZE)
    {
        res->PascalIdx = 0;
    }
    res->PascalPressureFiltered = res->PascalSum / PASCAL_SIZE;
    return;
}

void CommandExecute()
{
    static uint8_t tempbuf[COMMAND_LENGTH] = {0};
    tempbuf[0] = SOF;
    tempbuf[1] = command_buf[1];
    switch(command_buf[1])
    {
        case 0x00:
        {
            float fw = FWREV;
            uint32_t Seconds = GetUpTime() / 1000;
            memcpy(tempbuf + 2, &fw, 4);
            memcpy(tempbuf + 7, &Seconds, 4);
            memcpy(tempbuf + 11, &StatusRegister, 2);
            StatusRegister &= ~0x07;
            break;
        }
        case 0x01:
        {
            memcpy(tempbuf + 2, &I.PascalPressureFiltered, 4);
            tempbuf[6] = I.OK;
            break;
        }
        case 0x04:
        {
            memcpy(tempbuf + 2, &I420, 4);
            tempbuf[6] = Status420;
            break;
        }
        case 0x06:
        {
            memcpy(tempbuf + 2, &Pt1000Temp, 4);
            break;
        }
        case 0x08:
        {
            PowerOffAllowed = 1;
            break;
        }
        case 0x09:
        {
            memcpy(&Venting, command_buf + 2, 2);
            memcpy(tempbuf + 2, command_buf + 2, 2);
            break;
        }
        case 0x0A:
        {
            memcpy(tempbuf + 2, &Venting, 2);
            break;
        }
        case 0x0B:
        {
            uint8_t _mode = command_buf[4];
            switch(_mode)
            {
                case 0: //stop
                {
                    if(RunButtonState == 0)
                    {
                        if(command_buf[3] != 0)
                        {
                            AccTime = command_buf[3];
                        }
                        if((command_buf[2] >= RPM_MIN) && (command_buf[2] <= RPM_MAX))
                        {
                            NewSpeedSetPoint = 0;
                        }
                    }
                    break;
                }
                case 1: //start
                {
                    if(RunButtonState == 0)
                    {
                        if(command_buf[3] != 0)
                        {
                            AccTime = command_buf[3];
                        }
                        if((command_buf[2] >= RPM_MIN) && (command_buf[2] <= RPM_MAX))
                        {
                            NewSpeedSetPoint = command_buf[2];
                        }
                    }
                    break;
                }
                case 2: //config
                {
                    if((command_buf[2] >= RPM_MIN) && (command_buf[2] <= RPM_MAX))
                    {
                        DefaultSpeedSetPoint = command_buf[2];
                    }
                    if(command_buf[3] != 0)
                    {
                        DefaultAccTime = command_buf[3];
                    }
                    break;
                }
            }
            memcpy(tempbuf + 2, command_buf + 2, 3);
            break;
        }
        case 0x0C:
        {
            tempbuf[2] = (uint8_t)RawCurrentSpeed;
            break;
        }
    }
    HAL_UART_Transmit_IT(&PC_UART, tempbuf, sizeof tempbuf);
}

void HAL_I2C_MasterRxCpltCallback(I2C_HandleTypeDef *hi2c)
{
    if(hi2c == &hi2c2)
    {
        DataReady420 = 1;
    }
}

/* USER CODE END 4 */

void Error_Handler(void)
{
  __disable_irq();
  while (1)
  {
  }
}
